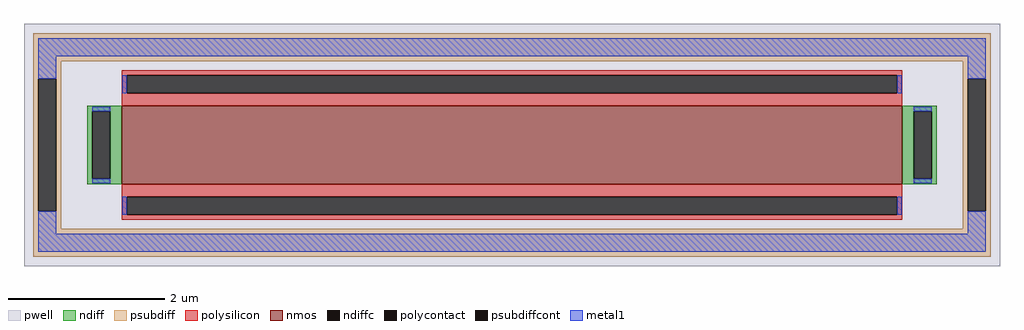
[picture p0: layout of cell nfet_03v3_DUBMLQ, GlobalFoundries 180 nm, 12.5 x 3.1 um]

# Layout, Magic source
magic
tech gf180mcuD
magscale 1 10
<< pwell >>
rect -1250 -310 1250 310
<< nmos >>
rect -1000 -100 1000 100
<< ndiff >>
rect -1088 87 -1000 100
rect -1088 -87 -1075 87
rect -1029 -87 -1000 87
rect -1088 -100 -1000 -87
rect 1000 87 1088 100
rect 1000 -87 1029 87
rect 1075 -87 1088 87
rect 1000 -100 1088 -87
<< ndiffc >>
rect -1075 -87 -1029 87
rect 1029 -87 1075 87
<< psubdiff >>
rect -1226 214 1226 286
rect -1226 170 -1154 214
rect -1226 -170 -1213 170
rect -1167 -170 -1154 170
rect 1154 170 1226 214
rect -1226 -214 -1154 -170
rect 1154 -170 1167 170
rect 1213 -170 1226 170
rect 1154 -214 1226 -170
rect -1226 -286 1226 -214
<< psubdiffcont >>
rect -1213 -170 -1167 170
rect 1167 -170 1213 170
<< polysilicon >>
rect -1000 179 1000 192
rect -1000 133 -987 179
rect 987 133 1000 179
rect -1000 100 1000 133
rect -1000 -133 1000 -100
rect -1000 -179 -987 -133
rect 987 -179 1000 -133
rect -1000 -192 1000 -179
<< polycontact >>
rect -987 133 987 179
rect -987 -179 987 -133
<< metal1 >>
rect -1213 227 1213 273
rect -1213 170 -1167 227
rect -998 133 -987 179
rect 987 133 998 179
rect 1167 170 1213 227
rect -1075 87 -1029 98
rect -1075 -98 -1029 -87
rect 1029 87 1075 98
rect 1029 -98 1075 -87
rect -1213 -227 -1167 -170
rect -998 -179 -987 -133
rect 987 -179 998 -133
rect 1167 -227 1213 -170
rect -1213 -273 1213 -227
<< properties >>
string FIXED_BBOX -1190 -250 1190 250
string gencell nfet_03v3
string library gf180mcu
string parameters w 1 l 10 m 1 nf 1 diffcov 100 polycov 100 guard 1 glc 1 grc 1 gtc 0 gbc 0 tbcov 100 rlcov 100 topc 1 botc 1 poverlap 0 doverlap 1 lmin 0.28 wmin 0.22 class mosfet full_metal 1 compatible {nfet_03v3 nfet_05v0 nfet_06v0 nfet_06v0_nvt}
<< end >>
